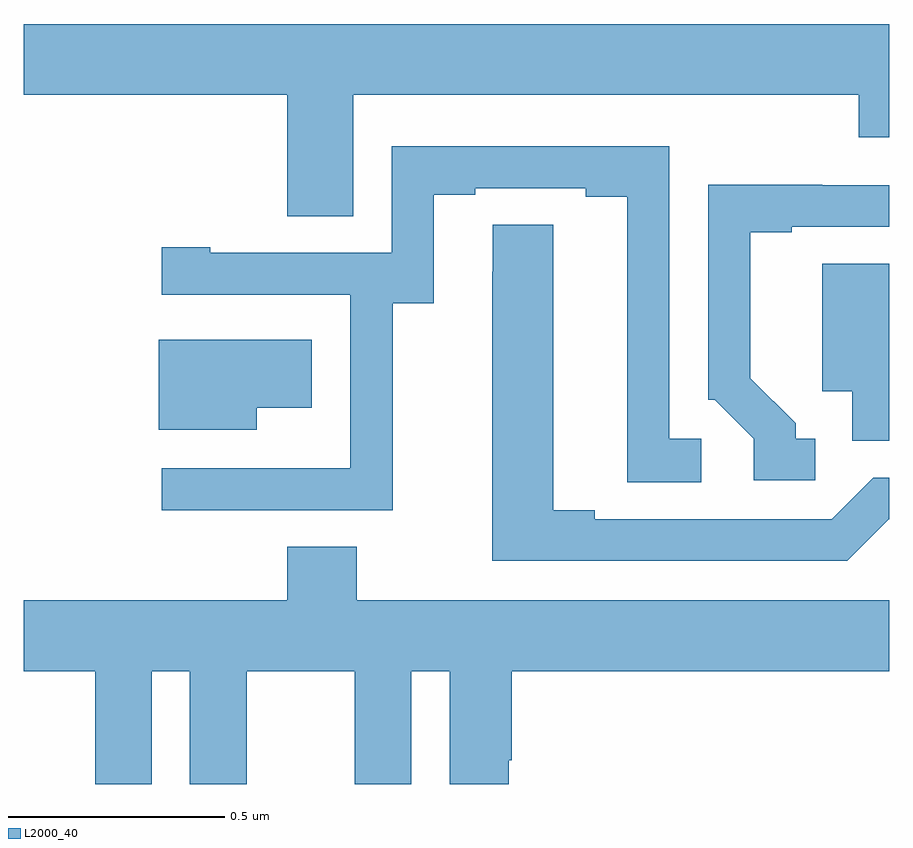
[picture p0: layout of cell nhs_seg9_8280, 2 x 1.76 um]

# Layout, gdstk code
import gdstk
lib = gdstk.Library(unit=1e-6, precision=1e-09)
def P(c, l, *ps):  # polygons
    for p in ps: c.add(gdstk.Polygon(p, *l))
L2000_40 = (2000, 40)

nhs_seg9_8280 = lib.new_cell('nhs_seg9_8280')
P(nhs_seg9_8280, L2000_40, [(215.761,1191.092),(216.929,1191.092),(216.929,1190.994),(217,1190.994),(217,1191.256),(215,1191.256),(215,1191.092),(215.609,1191.092),(215.609,1190.812),(215.761,1190.812)],
  [(215.853,1190.611),(215.947,1190.611),(215.947,1190.862),(216.043,1190.862),(216.043,1190.877),(216.299,1190.877),(216.299,1190.857),(216.395,1190.857),(216.395,1190.197),(216.565,1190.197),(216.565,1190.298),(216.492,1190.298),(216.492,1190.973),(215.85,1190.973),(215.85,1190.727),(215.431,1190.727),(215.431,1190.74),(215.319,1190.74),(215.319,1190.631),(215.754,1190.631),(215.754,1190.23),(215.753,1190.23),(215.753,1190.229),(215.319,1190.229),(215.319,1190.133),(215.853,1190.133)],
  [(216.829,1190.298),(216.784,1190.298),(216.784,1190.333),(216.679,1190.438),(216.679,1190.775),(216.775,1190.775),(216.775,1190.787),(217,1190.787),(217,1190.883),(216.845,1190.883),(216.845,1190.885),(216.582,1190.885),(216.582,1190.388),(216.597,1190.388),(216.687,1190.298),(216.687,1190.202),(216.829,1190.202)],
  [(216.999,1190.112),(217,1190.112),(217,1190.208),(216.963,1190.208),(216.867,1190.112),(216.319,1190.112),(216.319,1190.132),(216.223,1190.132),(216.223,1190.792),(216.084,1190.792),(216.084,1190.684),(216.083,1190.684),(216.083,1190.016),(216.903,1190.016)],
  [(217,1190.702),(216.845,1190.702),(216.845,1190.408),(216.914,1190.408),(216.914,1190.293),(217,1190.293)],
  [(215.539,1190.369),(215.665,1190.369),(215.665,1190.527),(215.312,1190.527),(215.312,1190.318),(215.539,1190.318)],
  [(215.296,1189.76),(215.384,1189.76),(215.384,1189.5),(215.515,1189.5),(215.515,1189.76),(215.765,1189.76),(215.765,1189.5),(215.896,1189.5),(215.896,1189.76),(215.984,1189.76),(215.984,1189.5),(216.121,1189.5),(216.121,1189.555),(216.128,1189.555),(216.128,1189.76),(217,1189.76),(217,1189.924),(215.769,1189.924),(215.769,1190.048),(215.609,1190.048),(215.609,1189.924),(215,1189.924),(215,1189.76),(215.165,1189.76),(215.165,1189.5),(215.296,1189.5)])

lib.write_gds('nhs_seg9_8280.gds')
